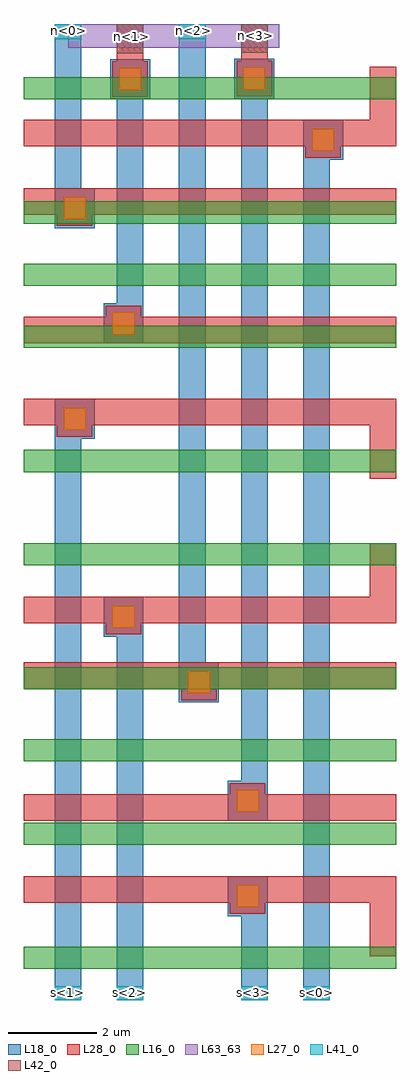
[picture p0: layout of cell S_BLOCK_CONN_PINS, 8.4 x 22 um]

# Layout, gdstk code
import gdstk
lib = gdstk.Library(unit=1e-6, precision=1e-09)
def R(c, l, rs):  # rectangles x0, y0, x1, y1
    for r in rs: c.add(gdstk.rectangle(r[:2], r[2:], *l))
def A(c, l, x, y, w, h, nx, ny, dx, dy):  # array of equal rectangles
    R(c, l, [(x+i*dx, y+j*dy, x+i*dx+w, y+j*dy+h) for i in range(nx) for j in range(ny)])
L16_0 = (16, 0)
L18_0 = (18, 0)
L27_0 = (27, 0)
L28_0 = (28, 0)
L41_0 = (41, 0)
L42_0 = (42, 0)
L63_63 = (63, 63)

m3_m2_cdns_745552780570 = lib.new_cell('M3_M2_CDNS_745552780570')
R(m3_m2_cdns_745552780570, L18_0, [(-0.45,-0.45,0.45,0.45)])
R(m3_m2_cdns_745552780570, L27_0, [(-0.25,-0.25,0.25,0.25)])
R(m3_m2_cdns_745552780570, L28_0, [(-0.4,-0.4,0.4,0.4)])

s_block_conn_pins = lib.new_cell('S_BLOCK_CONN_PINS')
A(s_block_conn_pins, L16_0, 0, 14.7, 8.4, 0.5, 1, 3, 0, 1.4)
R(s_block_conn_pins, L16_0, [(0,0.7,8.4,1.2), (0,3.5,8.4,4), (0,5.38,8.4,5.88), (0,7,8.4,7.5), (0,9.8,8.4,10.3), (0,11.9,8.4,12.4), (0,20.3,8.4,20.8)])
R(s_block_conn_pins, L28_0, [(7.8,0.99,8.4,2.79), (0,2.19,8.4,2.79), (0,4.04,8.4,4.64), (0,7.01,8.4,7.61), (0,8.49,8.4,9.09), (7.8,8.49,8.4,10.29), (7.8,11.75,8.4,13.55), (0,12.95,8.4,13.55), (0,14.8,8.4,15.4), (0,17.7,8.4,18.3), (0,19.24,8.4,19.84), (7.8,19.24,8.4,21.04)])
R(s_block_conn_pins, L41_0, [(0.7,0,1.3,0.31), (2.1,0,2.7,0.31), (4.9,0,5.5,0.31), (6.3,0,6.9,0.31), (0.7,21.66,1.3,22), (3.5,21.66,4.1,22)])
R(s_block_conn_pins, L42_0, [(2.1,21.34,2.7,22), (4.9,21.35,5.5,22)])
R(s_block_conn_pins, L63_63, [(1,21.47,5.76,22)])
s_block_conn_pins.add(gdstk.FlexPath([(1,22),(1,17.4)], 0.6, ends="flush", simple_path=True, layer=18, datatype=0))  # L18_0
s_block_conn_pins.add(gdstk.FlexPath([(2.4,20.76),(2.4,14.8)], 0.6, ends="flush", simple_path=True, layer=18, datatype=0))  # L18_0
s_block_conn_pins.add(gdstk.FlexPath([(3.8,22),(3.8,6.71)], 0.6, ends="flush", simple_path=True, layer=18, datatype=0))  # L18_0
s_block_conn_pins.add(gdstk.FlexPath([(5.2,20.77),(5.2,4.04)], 0.6, ends="flush", simple_path=True, layer=18, datatype=0))  # L18_0
s_block_conn_pins.add(gdstk.FlexPath([(5.2,2.79),(5.2,0)], 0.6, ends="flush", simple_path=True, layer=18, datatype=0))  # L18_0
s_block_conn_pins.add(gdstk.FlexPath([(2.4,9.09),(2.4,0)], 0.6, ends="flush", simple_path=True, layer=18, datatype=0))  # L18_0
s_block_conn_pins.add(gdstk.FlexPath([(1,13.55),(1,0)], 0.6, ends="flush", simple_path=True, layer=18, datatype=0))  # L18_0
s_block_conn_pins.add(gdstk.FlexPath([(6.6,19.84),(6.6,0)], 0.6, ends="flush", simple_path=True, layer=18, datatype=0))  # L18_0
s_block_conn_pins.add(gdstk.FlexPath([(5.2,22),(5.2,20.77)], 0.6, ends="flush", simple_path=True, layer=28, datatype=0))  # L28_0
s_block_conn_pins.add(gdstk.FlexPath([(2.4,22),(2.4,20.76)], 0.6, ends="flush", simple_path=True, layer=28, datatype=0))  # L28_0
s_block_conn_pins.add(gdstk.Reference(m3_m2_cdns_745552780570, (5.2,20.77)))
s_block_conn_pins.add(gdstk.Reference(m3_m2_cdns_745552780570, (2.4,20.76)))
s_block_conn_pins.add(gdstk.Reference(m3_m2_cdns_745552780570, (2.25,15.25)))
s_block_conn_pins.add(gdstk.Reference(m3_m2_cdns_745552780570, (3.95,7.16)))
s_block_conn_pins.add(gdstk.Reference(m3_m2_cdns_745552780570, (5.05,4.49)))
s_block_conn_pins.add(gdstk.Reference(m3_m2_cdns_745552780570, (5.05,2.34)))
s_block_conn_pins.add(gdstk.Reference(m3_m2_cdns_745552780570, (2.25,8.64)))
s_block_conn_pins.add(gdstk.Reference(m3_m2_cdns_745552780570, (1.15,13.1)))
s_block_conn_pins.add(gdstk.Reference(m3_m2_cdns_745552780570, (6.75,19.39)))
s_block_conn_pins.add(gdstk.Reference(m3_m2_cdns_745552780570, (1.15,17.85)))
s_block_conn_pins.add(gdstk.Label('s<3>', (5.19,0.16), layer=41, texttype=0))
s_block_conn_pins.add(gdstk.Label('s<0>', (6.59,0.16), layer=41, texttype=0))
s_block_conn_pins.add(gdstk.Label('s<2>', (2.39,0.16), layer=41, texttype=0))
s_block_conn_pins.add(gdstk.Label('s<1>', (0.99,0.16), layer=41, texttype=0))
s_block_conn_pins.add(gdstk.Label('n<2>', (3.82,21.85), layer=41, texttype=0))
s_block_conn_pins.add(gdstk.Label('n<0>', (1.02,21.85), layer=41, texttype=0))
s_block_conn_pins.add(gdstk.Label('n<3>', (5.22,21.74), layer=42, texttype=0))
s_block_conn_pins.add(gdstk.Label('n<1>', (2.42,21.72), layer=42, texttype=0))

lib.write_gds('S_BLOCK_CONN_PINS.gds')
